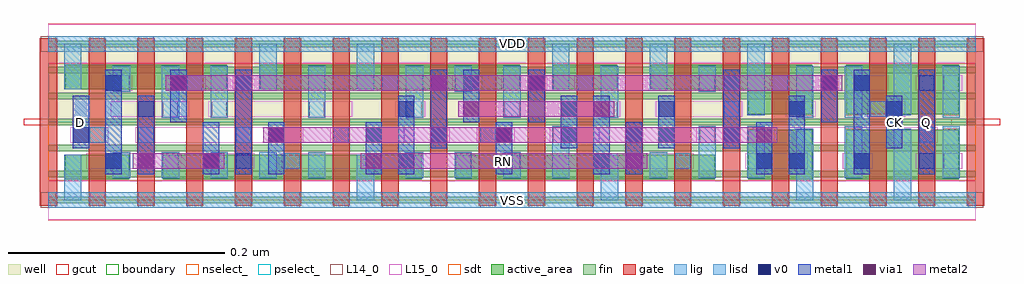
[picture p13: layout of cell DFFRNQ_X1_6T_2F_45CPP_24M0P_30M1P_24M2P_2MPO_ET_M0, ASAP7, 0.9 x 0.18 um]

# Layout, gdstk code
import gdstk
lib = gdstk.Library(unit=1e-6, precision=2.5e-10)
def R(c, l, rs):  # rectangles x0, y0, x1, y1
    for r in rs: c.add(gdstk.rectangle(r[:2], r[2:], *l))
def A(c, l, x, y, w, h, nx, ny, dx, dy):  # array of equal rectangles
    R(c, l, [(x+i*dx, y+j*dy, x+i*dx+w, y+j*dy+h) for i in range(nx) for j in range(ny)])
well = (1, 0)
fin = (2, 0)
gate = (7, 0)
gcut = (10, 0)
active_area = (11, 0)
nselect_ = (12, 0)
pselect_ = (13, 0)
L14_0 = (14, 0)
L15_0 = (15, 0)
lig = (16, 0)
lisd = (17, 0)
v0 = (18, 0)
metal1 = (19, 0)
metal2 = (20, 0)
via1 = (21, 0)
sdt = (88, 0)
boundary = (100, 0)

dffrnq_x1_6t_2f_45cpp_24 = lib.new_cell('DFFRNQ_X1_6T_2F_45CPP_24M0P_30M1P_24M2P_2MPO_ET_M0')
R(dffrnq_x1_6t_2f_45cpp_24, well, [(0,0.072,0.855,0.144)])
A(dffrnq_x1_6t_2f_45cpp_24, fin, 0, -0.003, 0.855, 0.006, 1, 7, 0, 0.024)
A(dffrnq_x1_6t_2f_45cpp_24, gate, -0.008, -0.005, 0.016, 0.154, 20, 1, 0.045, 0)
R(dffrnq_x1_6t_2f_45cpp_24, gcut, [(0,-0.0185,0.855,0.0185), (-0.0225,0.069,0.0225,0.075), (0.6975,0.069,0.7425,0.075), (0.8325,0.069,0.8775,0.075), (0,0.1255,0.855,0.1625)])
A(dffrnq_x1_6t_2f_45cpp_24, active_area, 0.1055, 0.019, 0.059, 0.023, 5, 1, 0.045, 0)
A(dffrnq_x1_6t_2f_45cpp_24, active_area, 0.3755, 0.019, 0.059, 0.023, 5, 1, 0.045, 0)
A(dffrnq_x1_6t_2f_45cpp_24, active_area, 0.0155, 0.102, 0.059, 0.023, 3, 1, 0.045, 0)
A(dffrnq_x1_6t_2f_45cpp_24, active_area, 0.1955, 0.102, 0.059, 0.023, 5, 1, 0.045, 0)
R(dffrnq_x1_6t_2f_45cpp_24, active_area, [(0.0155,0.019,0.0745,0.042), (0.6455,0.019,0.7045,0.065), (0.7355,0.019,0.7945,0.065), (0.7805,0.019,0.8395,0.065), (0.6455,0.079,0.7045,0.125), (0.7355,0.079,0.7945,0.125), (0.7805,0.079,0.8395,0.125), (0.4655,0.102,0.5245,0.125), (0.5555,0.102,0.6145,0.125), (0.6005,0.102,0.6595,0.125)])
R(dffrnq_x1_6t_2f_45cpp_24, nselect_, [(0,0,0.855,0.072)])
R(dffrnq_x1_6t_2f_45cpp_24, pselect_, [(0,0.072,0.855,0.144)])
A(dffrnq_x1_6t_2f_45cpp_24, L14_0, -0.007, -0.007, 0.014, 0.014, 20, 2, 0.045, 0.144)
A(dffrnq_x1_6t_2f_45cpp_24, L14_0, 0.0605, 0.029, 0.014, 0.014, 3, 1, 0.045, 0)
A(dffrnq_x1_6t_2f_45cpp_24, L14_0, 0.3305, 0.029, 0.014, 0.014, 3, 1, 0.045, 0)
A(dffrnq_x1_6t_2f_45cpp_24, L14_0, 0.6455, 0.029, 0.014, 0.014, 3, 1, 0.09, 0)
A(dffrnq_x1_6t_2f_45cpp_24, L14_0, 0.083, 0.053, 0.014, 0.014, 4, 1, 0.09, 0)
A(dffrnq_x1_6t_2f_45cpp_24, L14_0, 0.398, 0.053, 0.014, 0.014, 4, 1, 0.0675, 0)
A(dffrnq_x1_6t_2f_45cpp_24, L14_0, 0.1505, 0.077, 0.014, 0.014, 5, 1, 0.09, 0)
A(dffrnq_x1_6t_2f_45cpp_24, L14_0, 0.623, 0.077, 0.014, 0.014, 3, 1, 0.0675, 0)
A(dffrnq_x1_6t_2f_45cpp_24, L14_0, 0.308, 0.101, 0.014, 0.014, 3, 1, 0.0675, 0)
A(dffrnq_x1_6t_2f_45cpp_24, L14_0, 0.6005, 0.101, 0.014, 0.014, 3, 1, 0.0675, 0)
R(dffrnq_x1_6t_2f_45cpp_24, L14_0, [(0.218,0.029,0.232,0.043), (0.578,0.029,0.592,0.043), (0.038,0.053,0.052,0.067), (0.803,0.053,0.817,0.067), (0.1055,0.077,0.1195,0.091), (0.0605,0.101,0.0745,0.115), (0.128,0.101,0.142,0.115), (0.488,0.101,0.502,0.115), (0.8255,0.101,0.8395,0.115)])
R(dffrnq_x1_6t_2f_45cpp_24, L15_0, [(0,-0.018,0.855,0.018), (0.035,0.029,0.1225,0.043), (0.14,0.029,0.19,0.043), (0.215,0.029,0.3925,0.043), (0.41,0.029,0.595,0.043), (0.6425,0.029,0.7,0.043), (0.7325,0.029,0.76,0.043), (0.8,0.029,0.8425,0.043), (0.02,0.053,0.055,0.067), (0.08,0.053,0.235,0.067), (0.26,0.053,0.31,0.067), (0.3275,0.053,0.37,0.067), (0.395,0.053,0.43,0.067), (0.4625,0.053,0.49,0.067), (0.5075,0.053,0.58,0.067), (0.5975,0.053,0.82,0.067), (0.0575,0.077,0.13,0.091), (0.1475,0.077,0.28,0.091), (0.32,0.077,0.3475,0.091), (0.41,0.077,0.5275,0.091), (0.56,0.077,0.64,0.091), (0.68,0.077,0.7075,0.091), (0.755,0.077,0.79,0.091), (0.05,0.101,0.0775,0.115), (0.11,0.101,0.145,0.115), (0.17,0.101,0.34,0.115), (0.3725,0.101,0.4,0.115), (0.4175,0.101,0.46,0.115), (0.485,0.101,0.64,0.115), (0.665,0.101,0.775,0.115), (0.8,0.101,0.8425,0.115), (0,0.126,0.855,0.162)])
A(dffrnq_x1_6t_2f_45cpp_24, lig, 0.083, 0.053, 0.014, 0.014, 4, 1, 0.09, 0)
R(dffrnq_x1_6t_2f_45cpp_24, lig, [(0,-0.007,0.855,0.007), (0.218,0.029,0.232,0.043), (0.578,0.029,0.592,0.043), (0.038,0.053,0.052,0.067), (0.398,0.053,0.412,0.067), (0.533,0.053,0.547,0.067), (0.803,0.053,0.817,0.067), (0.623,0.077,0.637,0.091), (0.758,0.077,0.772,0.091), (0.128,0.101,0.142,0.115), (0.308,0.101,0.322,0.115), (0.443,0.101,0.457,0.115), (0.488,0.101,0.502,0.115), (0.668,0.101,0.682,0.115), (0,0.137,0.855,0.151)])
A(dffrnq_x1_6t_2f_45cpp_24, lisd, 0.0595, 0.02, 0.016, 0.024, 5, 1, 0.045, 0)
A(dffrnq_x1_6t_2f_45cpp_24, lisd, 0.3295, 0.02, 0.016, 0.024, 3, 1, 0.045, 0)
A(dffrnq_x1_6t_2f_45cpp_24, lisd, 0.6445, 0.02, 0.016, 0.048, 3, 1, 0.09, 0)
A(dffrnq_x1_6t_2f_45cpp_24, lisd, 0.1495, 0.076, 0.016, 0.048, 5, 1, 0.09, 0)
R(dffrnq_x1_6t_2f_45cpp_24, lisd, [(0.0145,0,0.0305,0.042), (0.2845,0,0.3005,0.042), (0.5095,0,0.5255,0.042), (0.6895,0,0.7055,0.066), (0.7795,0,0.7955,0.066), (0.4645,0.02,0.4805,0.068), (0.5545,0.02,0.5705,0.044), (0.5995,0.02,0.6155,0.068), (0.1045,0.076,0.1205,0.124), (0.6895,0.076,0.7055,0.124), (0.7345,0.076,0.7505,0.124), (0.8245,0.076,0.8405,0.124), (0.6445,0.078,0.6605,0.144), (0.7795,0.078,0.7955,0.144), (0.0595,0.1,0.0755,0.124), (0.3745,0.1,0.3905,0.124), (0.5995,0.1,0.6155,0.124), (0.0145,0.102,0.0305,0.144), (0.1945,0.102,0.2105,0.144), (0.2845,0.102,0.3005,0.144), (0.4645,0.102,0.4805,0.144), (0.5545,0.102,0.5705,0.144)])
A(dffrnq_x1_6t_2f_45cpp_24, v0, 0.683, 0.029, 0.014, 0.014, 3, 1, 0.06, 0)
A(dffrnq_x1_6t_2f_45cpp_24, v0, 0.293, 0.053, 0.014, 0.014, 5, 1, 0.06, 0)
A(dffrnq_x1_6t_2f_45cpp_24, v0, 0.053, 0.101, 0.014, 0.014, 3, 1, 0.06, 0)
R(dffrnq_x1_6t_2f_45cpp_24, v0, [(0.053,0.029,0.067,0.043), (0.143,0.029,0.157,0.043), (0.173,0.029,0.187,0.043), (0.323,0.029,0.337,0.043), (0.503,0.029,0.517,0.043), (0.653,0.029,0.667,0.043), (0.023,0.053,0.037,0.067), (0.203,0.053,0.217,0.067), (0.563,0.053,0.577,0.067), (0.623,0.053,0.637,0.067), (0.083,0.077,0.097,0.091), (0.323,0.077,0.337,0.091), (0.473,0.077,0.487,0.091), (0.563,0.077,0.577,0.091), (0.683,0.077,0.697,0.091), (0.773,0.077,0.787,0.091), (0.383,0.101,0.397,0.115), (0.443,0.101,0.457,0.115), (0.623,0.101,0.637,0.115), (0.713,0.101,0.727,0.115), (0.743,0.101,0.757,0.115), (0.803,0.101,0.817,0.115)])
A(dffrnq_x1_6t_2f_45cpp_24, metal1, 0.2925, 0.024, 0.015, 0.048, 4, 1, 0.12, 0)
A(dffrnq_x1_6t_2f_45cpp_24, metal1, 0.3225, 0.024, 0.015, 0.072, 3, 1, 0.18, 0)
R(dffrnq_x1_6t_2f_45cpp_24, metal1, [(0.0525,0.024,0.0675,0.12), (0.0825,0.024,0.0975,0.096), (0.1425,0.024,0.1575,0.072), (0.1725,0.024,0.1875,0.12), (0.2025,0.024,0.2175,0.072), (0.7425,0.024,0.7575,0.12), (0.8025,0.024,0.8175,0.12), (0.0225,0.048,0.0375,0.096), (0.3525,0.048,0.3675,0.12), (0.4725,0.048,0.4875,0.096), (0.5625,0.048,0.5775,0.096), (0.6225,0.048,0.6375,0.12), (0.7725,0.048,0.7875,0.096), (0.1125,0.072,0.1275,0.12), (0.3825,0.072,0.3975,0.12), (0.4425,0.072,0.4575,0.12), (0.7125,0.072,0.7275,0.12)])
R(dffrnq_x1_6t_2f_45cpp_24, metal2, [(0.078,0.029,0.162,0.043), (0.288,0.029,0.552,0.043), (0.198,0.053,0.672,0.067), (0.378,0.077,0.522,0.091), (0.108,0.101,0.732,0.115)])
R(dffrnq_x1_6t_2f_45cpp_24, via1, [(0.083,0.029,0.097,0.043), (0.143,0.029,0.157,0.043), (0.293,0.029,0.307,0.043), (0.533,0.029,0.547,0.043), (0.203,0.053,0.217,0.067), (0.413,0.053,0.427,0.067), (0.653,0.053,0.667,0.067), (0.383,0.077,0.397,0.091), (0.503,0.077,0.517,0.091), (0.113,0.101,0.127,0.115), (0.353,0.101,0.367,0.115), (0.443,0.101,0.457,0.115), (0.713,0.101,0.727,0.115)])
A(dffrnq_x1_6t_2f_45cpp_24, sdt, 0.0145, 0.024, 0.016, 0.018, 14, 2, 0.045, 0.078)
A(dffrnq_x1_6t_2f_45cpp_24, sdt, 0.6445, 0.024, 0.016, 0.042, 5, 2, 0.045, 0.054)
R(dffrnq_x1_6t_2f_45cpp_24, boundary, [(0,0,0.855,0.144)])
dffrnq_x1_6t_2f_45cpp_24.add(gdstk.Label('Q', (0.81,0.072), layer=19, texttype=251))
dffrnq_x1_6t_2f_45cpp_24.add(gdstk.Label('RN', (0.42,0.036), layer=20, texttype=251))
dffrnq_x1_6t_2f_45cpp_24.add(gdstk.Label('D', (0.03,0.072), layer=19, texttype=251))
dffrnq_x1_6t_2f_45cpp_24.add(gdstk.Label('CK', (0.78,0.072), layer=19, texttype=251))
dffrnq_x1_6t_2f_45cpp_24.add(gdstk.Label('VDD', (0.4275,0.144), layer=15, texttype=251))
dffrnq_x1_6t_2f_45cpp_24.add(gdstk.Label('VSS', (0.4275,0), layer=15, texttype=251))
dffrnq_x1_6t_2f_45cpp_24.add(gdstk.Label('VDD', (0.4275,0.144), layer=1, texttype=251))
dffrnq_x1_6t_2f_45cpp_24.add(gdstk.Label('VSS', (0.4275,0), layer=3, texttype=251))

lib.write_gds('DFFRNQ_X1_6T_2F_45CPP_24M0P_30M1P_24M2P_2MPO_ET_M0.gds')
